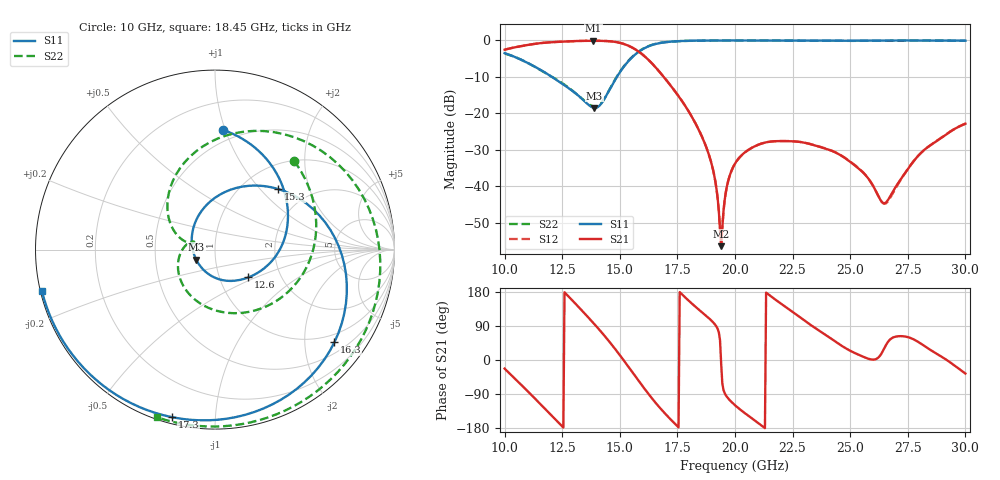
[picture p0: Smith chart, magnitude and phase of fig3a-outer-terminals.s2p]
! Both ports independently excited
# Hz S RI R 50
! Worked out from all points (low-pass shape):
!   401 points, 10 GHz to 30 GHz, reference 50 ohm
!   highest |S21| = -0.13 dB at 13.85 GHz (marker M1); lowest = -56.4 dB at 19.4 GHz (marker M2)
!   |S21| within 3 dB of the highest: start of sweep to 15.83 GHz
!   lowest |S11| = -18.5 dB at 13.9 GHz (marker M3), VSWR 1.27, Z = 40.3 - j4.51 ohm
!   |S11| at or under -10 dB: 12.05 GHz to 14.87 GHz (2.825 GHz wide, 21 % of centre)
!   |S22| runs from -18.2 to 0.0 dB; largest |S21 - S12| = 0.00067
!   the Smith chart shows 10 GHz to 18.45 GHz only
!   S11 on the Smith chart (normalised r, x): 10 GHz: 0.41, +0.98; 12.6 GHz: 1.37, -0.45; 15.3 GHz: 1.43, +1.26; 16.3 GHz: 0.77, -2.73; 17.3 GHz: 0.03, -0.78; 18.45 GHz: 0.00, -0.12
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1e10  0.0459 0.6662  0.6866 -0.288  0.6869 -0.2879  0.4406 0.4938
1.135e10  0.4044 0.1443  -0.2141 -0.8732  -0.2139 -0.873  0.2868 -0.3159
1.26e10  0.1861 -0.1547  -0.9629 0.0218  -0.9625 0.0219  -0.1992 -0.146
1.335e10  0.00508 -0.1588  -0.6436 0.7426  -0.6437 0.7426  -0.1571 0.0289
1.385e10  -0.0976 -0.0687  -0.1341 0.976  -0.1341 0.976  -0.1164 0.0439
1.39e10  -0.1049 -0.0552  -0.0763 0.9822  -0.0762 0.9821  -0.1158 0.0427
1.475e10  -0.0231 0.2709  0.8051 0.518  0.8051 0.5182  -0.2422 0.13
1.53e10  0.3519 0.3376  0.845 -0.1744  0.8452 -0.1744  -0.194 0.4546
1.58e10  0.6897 0.0176  0.4222 -0.5683  0.4224 -0.5684  0.2176 0.6615
1.63e10  0.6653 -0.5164  -0.0347 -0.5179  -0.0346 -0.5181  0.7297 0.4306
1.67e10  0.3659 -0.8371  -0.2081 -0.3152  -0.2082 -0.3155  0.917 -0.00499
1.73e10  -0.2375 -0.9341  -0.2098 -0.0655  -0.2101 -0.0655  0.7196 -0.6412
1.845e10  -0.9637 -0.2334  -0.0383 0.0427  -0.0384 0.043  -0.3248 -0.9337
1.905e10  -0.9572 0.2702  -0.00274 0.0164  -0.00259 0.0166  -0.7642 -0.6314
1.94e10  -0.8405 0.5341  0.00149 -0.00027  0.00163 -0.000192  -0.9201 -0.3733
2e10  -0.4903 0.8664  -0.01 -0.0179  -0.00981 -0.0179  -0.9864 0.1209
2.17e10  0.7389 0.6603  -0.0394 0.0131  -0.0394 0.0129  -0.0758 0.9898
2.335e10  0.8312 -0.5314  0.000204 0.0373  3.29e-05 0.0374  0.9261 0.3419
2.495e10  -0.2345 -0.9602  0.02 0.00976  0.0202 0.00986  0.6289 -0.7565
2.67e10  -0.9949 0.0159  0.00428 0.00551  0.00418 0.0052  -0.5776 -0.8004
2.845e10  -0.1922 0.9774  0.0319 0.0168  0.0316 0.0172  -0.9283 0.3493
3e10  0.8489 0.5072  0.0585 -0.0421  0.059 -0.0418  -0.0494 0.9878
